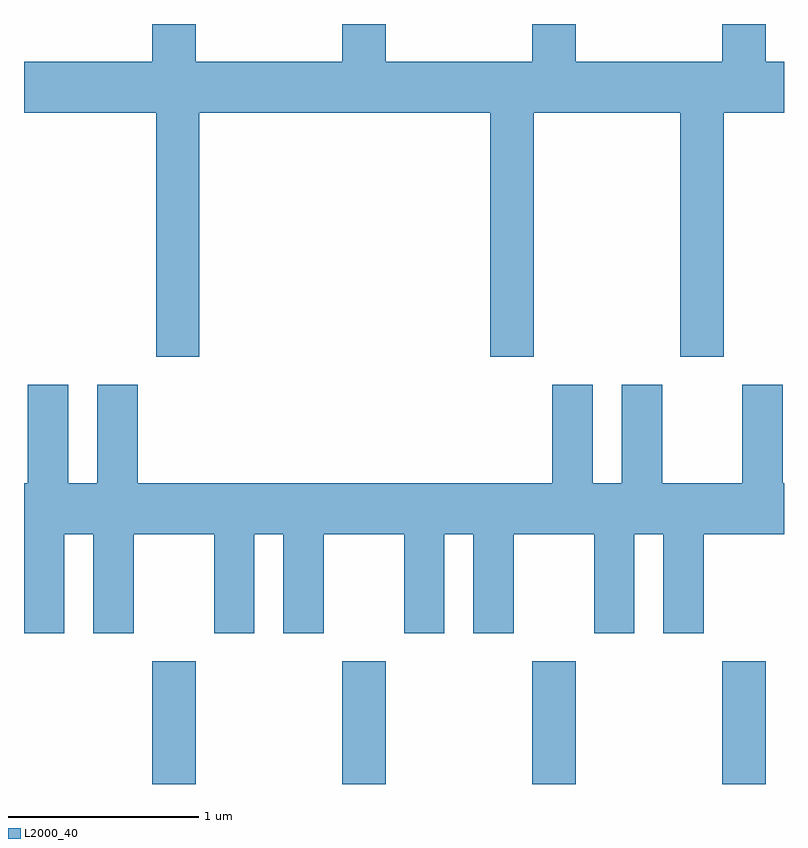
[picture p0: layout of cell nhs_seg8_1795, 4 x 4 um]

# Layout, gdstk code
import gdstk
lib = gdstk.Library(unit=1e-6, precision=1e-09)
def R(c, l, rs):  # rectangles x0, y0, x1, y1
    for r in rs: c.add(gdstk.rectangle(r[:2], r[2:], *l))
def A(c, l, x, y, w, h, nx, ny, dx, dy):  # array of equal rectangles
    R(c, l, [(x+i*dx, y+j*dy, x+i*dx+w, y+j*dy+h) for i in range(nx) for j in range(ny)])
def P(c, l, *ps):  # polygons
    for p in ps: c.add(gdstk.Polygon(p, *l))
L2000_40 = (2000, 40)

nhs_seg8_1795 = lib.new_cell('nhs_seg8_1795')
A(nhs_seg8_1795, L2000_40, 238.286, 1928.342, 0.228, 0.647, 4, 1, 1, 0)
P(nhs_seg8_1795, L2000_40, [(238.534,1931.876),(240.066,1931.876),(240.066,1930.591),(240.294,1930.591),(240.294,1931.876),(241.066,1931.876),(241.066,1930.591),(241.294,1930.591),(241.294,1931.876),(241.611,1931.876),(241.611,1932.144),(241.514,1932.144),(241.514,1932.342),(241.286,1932.342),(241.286,1932.144),(240.514,1932.144),(240.514,1932.342),(240.286,1932.342),(240.286,1932.144),(239.514,1932.144),(239.514,1932.342),(239.286,1932.342),(239.286,1932.144),(238.514,1932.144),(238.514,1932.342),(238.286,1932.342),(238.286,1932.144),(237.611,1932.144),(237.611,1931.876),(238.306,1931.876),(238.306,1930.591),(238.534,1930.591)],
  [(241.391,1930.444),(241.391,1929.924),(240.969,1929.924),(240.969,1930.444),(240.756,1930.444),(240.756,1929.924),(240.604,1929.924),(240.604,1930.444),(240.391,1930.444),(240.391,1929.924),(238.209,1929.924),(238.209,1930.444),(237.996,1930.444),(237.996,1929.924),(237.844,1929.924),(237.844,1930.444),(237.631,1930.444),(237.631,1929.924),(237.611,1929.924),(237.611,1929.136),(237.824,1929.136),(237.824,1929.656),(237.976,1929.656),(237.976,1929.136),(238.189,1929.136),(238.189,1929.656),(238.611,1929.656),(238.611,1929.136),(238.824,1929.136),(238.824,1929.656),(238.976,1929.656),(238.976,1929.136),(239.189,1929.136),(239.189,1929.656),(239.611,1929.656),(239.611,1929.136),(239.824,1929.136),(239.824,1929.656),(239.976,1929.656),(239.976,1929.136),(240.189,1929.136),(240.189,1929.656),(240.611,1929.656),(240.611,1929.136),(240.824,1929.136),(240.824,1929.656),(240.976,1929.656),(240.976,1929.136),(241.189,1929.136),(241.189,1929.656),(241.611,1929.656),(241.611,1929.924),(241.604,1929.924),(241.604,1930.444)])

lib.write_gds('nhs_seg8_1795.gds')
